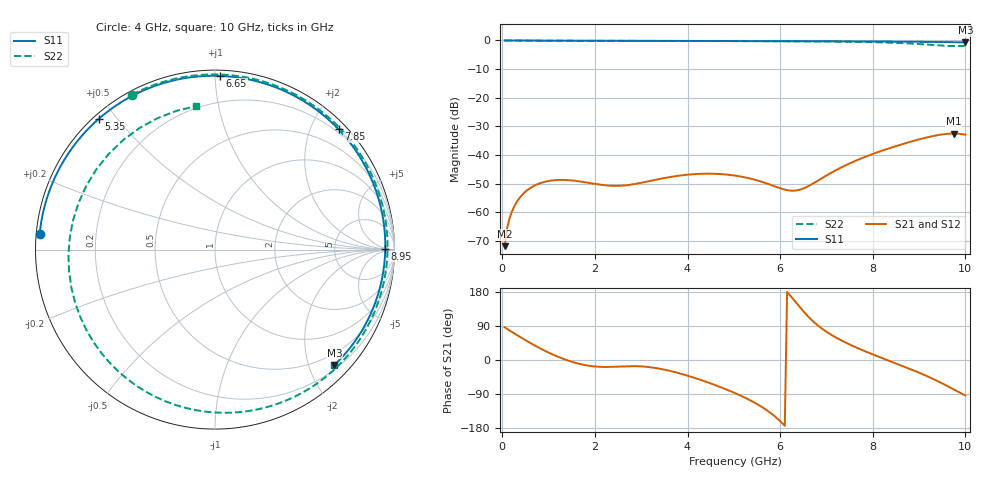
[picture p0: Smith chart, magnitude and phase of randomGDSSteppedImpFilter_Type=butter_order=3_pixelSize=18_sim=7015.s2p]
! freq	dB(S11)	phase(S11)	dB(S12)	phase(S12)
!  dB(S21)	phase(S21)	dB(S22)	phase(S22)
!S-par simulation data
#  GHz  S  DB  R 50
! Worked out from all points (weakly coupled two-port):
!   200 points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, 50 MHz to 10 GHz, reference 50 ohm
!   highest |S21| = -32.52 dB at 9.75 GHz (marker M1); lowest = -71.9 dB at 50 MHz (marker M2)
!   lowest |S11| = -0.7 dB at 10 GHz (marker M3), VSWR 25.76, Z = 13.7 - j122 ohm
!   |S11| at or under -10 dB: nowhere
!   |S22| runs from -2.0 to 0.0 dB; largest |S21 - S12| = 0
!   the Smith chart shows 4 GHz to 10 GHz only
!   S11 on the Smith chart (normalised r, x): 4 GHz: 0.01, +0.04; 5.35 GHz: 0.02, +0.45; 6.65 GHz: 0.03, +1.03; 7.85 GHz: 0.14, +2.45; 8.95 GHz: 38, +4; 10 GHz: 0.27, -2.45
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0.05  -0.00 -3.2  -71.86 86.6  -71.86 86.6  -0.00 -4.6
0.1  -0.01 -6.4  -65.94 82.4  -65.94 82.4  -0.01 -9.2
0.2  -0.02 -12.8  -60.07 74.5  -60.07 74.5  -0.03 -18.3
0.5  -0.04 -31.5  -52.82 52.3  -52.82 52.3  -0.06 -44.8
1.05  -0.08 -63.8  -48.96 16.7  -48.96 16.7  -0.10 -88.6
1.75  -0.11 -99.7  -49.43 -12.6  -49.43 -12.6  -0.13 -134.4
2.5  -0.13 -132.1  -50.79 -17.3  -50.79 -17.3  -0.14 -174.3
3.4  -0.15 -165.1  -48.37 -23.1  -48.37 -23.1  -0.17 144.3
4  -0.17 174.9  -46.89 -41.4  -46.89 -41.4  -0.19 118.2
4.55  -0.19 157.2  -46.56 -64.1  -46.56 -64.1  -0.21 94.5
5.05  -0.21 141.3  -47.26 -88.7  -47.26 -88.7  -0.23 73.0
5.35  -0.22 131.7  -48.22 -106.2  -48.22 -106.2  -0.24 60.0
6.2  -0.26 103.8  -52.41 172.6  -52.41 172.6  -0.29 22.8
6.65  -0.28 88.3  -50.53 109.1  -50.53 109.1  -0.34 2.8
6.7  -0.28 86.6  -50.07 103.3  -50.07 103.3  -0.34 0.5
7.25  -0.31 66.8  -44.92 56.2  -44.92 56.2  -0.42 -24.5
7.85  -0.35 44.3  -40.56 22.2  -40.56 22.2  -0.56 -53.6
8.35  -0.39 24.7  -37.69 -1.9  -37.69 -1.9  -0.76 -81.1
8.95  -0.46 0.3  -34.78 -30.8  -34.78 -30.8  -1.20 -124.0
9.4  -0.53 -18.4  -33.08 -55.6  -33.08 -55.6  -1.70 -171.3
9.75  -0.61 -33.3  -32.52 -77.8  -32.52 -77.8  -1.97 138.0
10  -0.67 -44.0  -32.94 -93.8  -32.94 -93.8  -1.87 97.4
